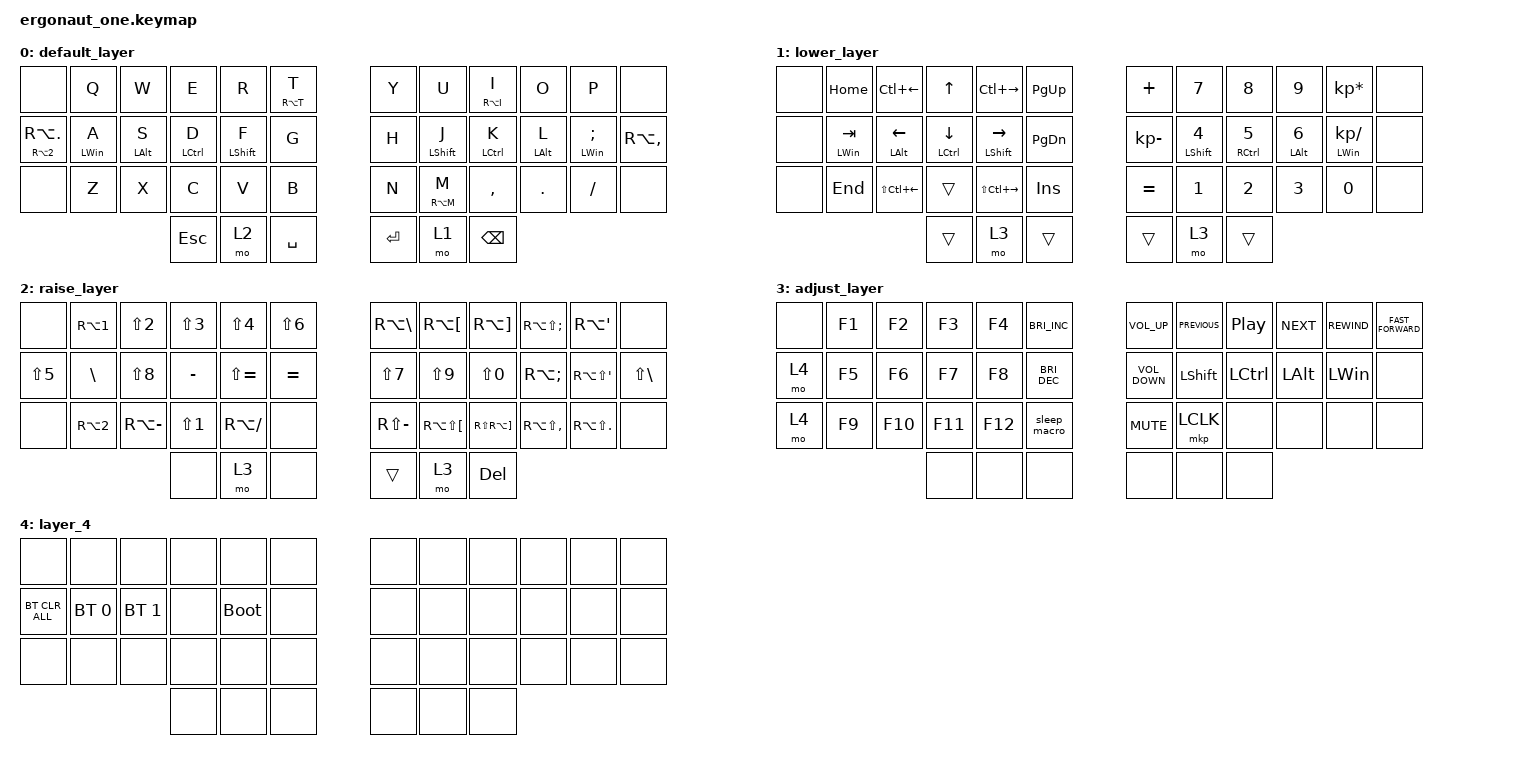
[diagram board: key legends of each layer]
#include <behaviors.dtsi>
#include <dt-bindings/zmk/bt.h>
#include <dt-bindings/zmk/keys.h>
#include <dt-bindings/zmk/mouse.h>

#define DEF 0
#define LWR 1
#define RSE 2
#define ADJ 3

/ {
    behaviors {
        ht: ht {
            compatible = "zmk,behavior-hold-tap";
            label = "HT";
            bindings = <&kp>, <&kp>;

            #binding-cells = <2>;
            tapping-term-ms = <230>;
            quick-tap-ms = <230>;
            require-prior-idle-ms = <100>;
            flavor = "tap-preferred";
        };
    };

    macros {
        sleep_macro: sleep_macro {
            compatible = "zmk,behavior-macro";
            #binding-cells = <0>;
            bindings = <&kp LG(D) &kp LA(F4) &kp UP_ARROW &kp ENTER>;
            label = "SLEEP_MACRO";
            wait-ms = <300>;
        };
    };

    combos {
        compatible = "zmk,combos";

        changing_the_language {
            bindings = <&kp LC(LEFT_SHIFT)>;
            key-positions = <16 15 19 20>;
        };
    };

    keymap {
        compatible = "zmk,keymap";

        default_layer {
            // -----------------------------------------------------------------------------------------
            // |  GUI |   ~  |  Q  |  W  |  E  |  R  |  T  |   |  Y  |  U   |  I  |  O  |  P  |  [   | GUI/] |
            //        | CTRL |  A  |  S  |  D  |  F  |  G  |   |  H  |  J   |  K  |  L  |  ;  |CTRL/'|
            //        | LALT |  Z  |  X  |  C  |  V  |  B  |   |  N  |  M   |  ,  |  .  |  /  | RALT |
            //                           | RSE | SPC | LWR |   | LWR | BSPC | RSE |

            bindings = <
&none                     &kp Q           &kp W           &kp E        &kp R             &ht RA(T) T  &kp Y      &kp U             &ht RA(I) I    &kp O           &kp P                   &none
&ht RA(NUMBER_2) RA(DOT)  &ht LEFT_WIN A  &ht LEFT_ALT S  &ht LCTRL D  &ht LEFT_SHIFT F  &kp G        &kp H      &ht LEFT_SHIFT J  &ht LCTRL K    &ht LEFT_ALT L  &ht LEFT_WIN SEMICOLON  &kp RA(COMMA)
&none                     &kp Z           &kp X           &kp C        &kp V             &kp B        &kp N      &ht RA(M) M       &kp COMMA      &kp PERIOD      &kp SLASH               &none
                                                          &kp ESCAPE   &mo 2             &kp SPACE    &kp ENTER  &mo 1             &kp BACKSPACE
            >;
        };

        lower_layer {
            // -----------------------------------------------------------------------------------------
            // |     |  _  |  F1 |  F2 |  F3 |  F4 |  F5 |   |  F6 |  F7 |  F8 |  F9 | F10 | F11 | F12 |
            //       |  +  |  !  |  @  |  #  |  $  |  %  |   |  ^  |  &  |  *  |  (  |  )  |  -  |
            //       |  =  |  1  |  2  |  3  |  4  |  5  |   |  6  |  7  |  8  |  9  |  0  |     |
            //                    | GUI |     | SPC |   | ENT |     | ALT |

            bindings = <
&none  &kp HOME          &kp LC(LEFT)       &kp UP_ARROW    &kp LC(RIGHT)         &kp PAGE_UP    &kp PLUS      &kp NUMBER_7             &kp NUMBER_8        &kp NUMBER_9           &kp KP_MULTIPLY         &none
&none  &ht LEFT_WIN TAB  &ht LEFT_ALT LEFT  &ht LCTRL DOWN  &ht LEFT_SHIFT RIGHT  &kp PAGE_DOWN  &kp KP_MINUS  &ht LEFT_SHIFT NUMBER_4  &ht RCTRL NUMBER_5  &ht LEFT_ALT NUMBER_6  &ht LEFT_WIN KP_DIVIDE  &none
&none  &kp END           &kp LS(LC(LEFT))   &trans          &kp LS(LC(RIGHT))     &kp INSERT     &kp EQUAL     &kp NUMBER_1             &kp NUMBER_2        &kp NUMBER_3           &kp N0                  &none
                                            &trans          &mo 3                 &trans         &trans        &mo 3                    &trans
            >;
        };

        raise_layer {
            // -----------------------------------------------------------------------------------------
            // |     | NMLK |  /  |  7  |  8  |  9  |  -  |   | VOLU| HOME| PRSC| PGUP| SCLK| CLCK|     |
            //       | CTRL |  *  |  4  |  5  |  6  |  +  |   | MUT | LEFT|  UP | RGHT| INS | APP |
            //       |      |  0  |  1  |  2  |  3  |  .  |   | VOLD| END | DOWN| PGDN| PAUS|     |
            //                          |     |     | ADJ |   | ADJ |     |     |

            bindings = <
&none       &kp RA(NUMBER_1)  &kp LS(NUMBER_2)  &kp LS(NUMBER_3)  &kp LS(NUMBER_4)  &kp LS(NUMBER_6)  &kp RA(BACKSLASH)  &kp RA(LEFT_BRACKET)      &kp RA(RIGHT_BRACKET)      &kp RA(LS(SEMICOLON))  &kp RA(SINGLE_QUOTE)      &none
&kp LS(N5)  &kp BACKSLASH     &kp LS(NUMBER_8)  &kp MINUS         &kp LS(EQUAL)     &kp EQUAL         &kp LS(NUMBER_7)   &kp LS(NUMBER_9)          &kp LS(NUMBER_0)           &kp RA(SEMICOLON)      &kp RA(LS(SINGLE_QUOTE))  &kp LS(BACKSLASH)
&none       &kp RA(NUMBER_2)  &kp RA(MINUS)     &kp LS(NUMBER_1)  &kp RA(SLASH)     &none             &kp RS(MINUS)      &kp RA(LS(LEFT_BRACKET))  &kp RS(RA(RIGHT_BRACKET))  &kp RA(LS(COMMA))      &kp RA(LS(DOT))           &none
                                                &none             &mo 3             &none             &trans             &mo 3                     &kp DEL
            >;
        };

        adjust_layer {
            // -----------------------------------------------------------------------------------------
            // | RST | BLDR |     |     |     |     |     |   |     |     |     |     |     | BLDR | RST |
            //       | BTCLR| BT0 | BT1 | BT2 | BT3 | BT4 |   | BT4 | BT3 | BT2 | BT1 | BT0 | BTCLR|
            //       |      |     |     |     |     |     |   |     |     |     |     |     |      |
            //                          |     |     |     |   |     |     |     |

            bindings = <
&none  &kp F1  &kp F2   &kp F3   &kp F4   &kp C_BRIGHTNESS_INC  &kp C_VOLUME_UP    &kp C_PREVIOUS  &kp C_PLAY_PAUSE  &kp C_NEXT    &kp C_REWIND  &kp C_FAST_FORWARD
&mo 4  &kp F5  &kp F6   &kp F7   &kp F8   &kp C_BRIGHTNESS_DEC  &kp C_VOLUME_DOWN  &kp LEFT_SHIFT  &kp LCTRL         &kp LEFT_ALT  &kp LEFT_WIN  &none
&mo 4  &kp F9  &kp F10  &kp F11  &kp F12  &sleep_macro          &kp C_MUTE         &mkp LCLK       &none             &none         &none         &none
                        &none    &none    &none                 &none              &none           &none
            >;
        };

        layer_4 {
            bindings = <
&none           &none         &none         &none  &none        &none  &none  &none  &none  &none  &none  &none
&bt BT_CLR_ALL  &bt BT_SEL 0  &bt BT_SEL 1  &none  &bootloader  &none  &none  &none  &none  &none  &none  &none
&none           &none         &none         &none  &none        &none  &none  &none  &none  &none  &none  &none
                                            &none  &none        &none  &none  &none  &none
            >;
        };
    };
};
